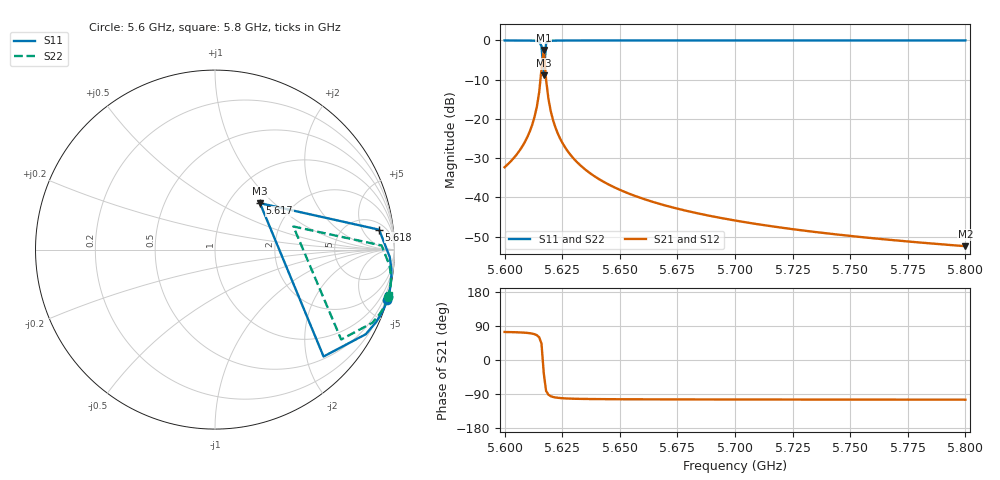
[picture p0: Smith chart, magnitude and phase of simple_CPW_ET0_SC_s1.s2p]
! Touchstone file exported from HFSS 2022.2.0
!  File:  //Mac/Home/Documents/Ansoft/simple_CPW.aedt
!  Generated:  1:01:05 PM  Jan 26, 2023
!  Design:  ET0_SC
!  Project:  simple_CPW
!  Setup:  Setup1
!  Solution:  Sweep1
# GHz S MA R 50.000000
! Terminal data exported
! Port[1] = 1
! Port[2] = 2
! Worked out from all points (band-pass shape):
!   201 points, 5.6 GHz to 5.8 GHz, reference 50 ohm
!   highest |S21| = -2.42 dB at 5.617 GHz (marker M1); lowest = -52.5 dB at 5.8 GHz (marker M2)
!   |S21| within 3 dB of the highest: 5.616391 GHz to 5.617395 GHz (1.004 MHz wide, 0.0179 % of centre)
!   lowest |S11| = -8.9 dB at 5.617 GHz (marker M3), VSWR 2.13, Z = 69.2 + j41.1 ohm
!   |S11| at or under -10 dB: nowhere
!   |S22| runs from -6.8 to 0.0 dB; largest |S21 - S12| = 1.5e-15
!   S11 on the Smith chart (normalised r, x): 5.6 GHz: 0.01, -7.03; 5.617 GHz: 1.38, +0.82; 5.618 GHz: 8, +11; 5.8 GHz: 0.00, -7.62
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5.6  0.9996 -16.2  0.02418 73.9  0.02418 73.9  0.9996 -15.4
! Gamma 0 296.038194438195 0 296.072058084107
! Port Impedance 50 0 50 0
5.606  0.9989 -17.1  0.03765 73.0  0.03765 73.0  0.999 -16.0
5.609  0.998 -18.1  0.05213 71.9  0.05213 71.9  0.9981 -16.8
5.611  0.9963 -19.3  0.07001 70.7  0.07001 70.7  0.9966 -17.6
5.613  0.9914 -21.7  0.1063 68.1  0.1063 68.1  0.9922 -19.4
5.614  0.9844 -24.2  0.1432 65.4  0.1432 65.4  0.9857 -21.3
5.615  0.9635 -29.3  0.2178 60.0  0.2178 60.0  0.9667 -25.0
5.616  0.8489 -44.6  0.4294 43.6  0.4294 43.6  0.8632 -35.5
5.617  0.3601 45.9  0.7571 -35.3  0.7571 -35.3  0.4553 16.4
5.618  0.921 6.9  0.3159 -81.5  0.3159 -81.5  0.9284 1.4
5.619  0.9745 -2.4  0.1819 -91.4  0.1819 -91.4  0.9768 -5.2
5.62  0.9877 -6.2  0.1267 -95.4  0.1267 -95.4  0.9888 -8.0
5.621  0.9928 -8.2  0.09698 -97.5  0.09698 -97.5  0.9935 -9.4
5.623  0.9967 -10.2  0.06596 -99.7  0.06596 -99.7  0.997 -11.0
5.628  0.999 -12.2  0.03665 -101.8  0.03665 -101.8  0.9991 -12.4
5.634  0.9996 -13.1  0.02392 -102.7  0.02392 -102.7  0.9996 -13.1
5.648  0.9999 -13.8  0.01325 -103.5  0.01325 -103.5  0.9999 -13.6
5.667  0.9999 -14.2  0.008294 -103.9  0.008294 -103.9  1 -13.9
5.7  1 -14.5  0.005064 -104.3  0.005064 -104.3  1 -14.2
5.734  1 -14.7  0.003639 -104.4  0.003639 -104.4  1 -14.3
5.767  1 -14.8  0.002873 -104.6  0.002873 -104.6  1 -14.4
5.8  1 -14.9  0.002384 -104.7  0.002384 -104.7  1 -14.6
